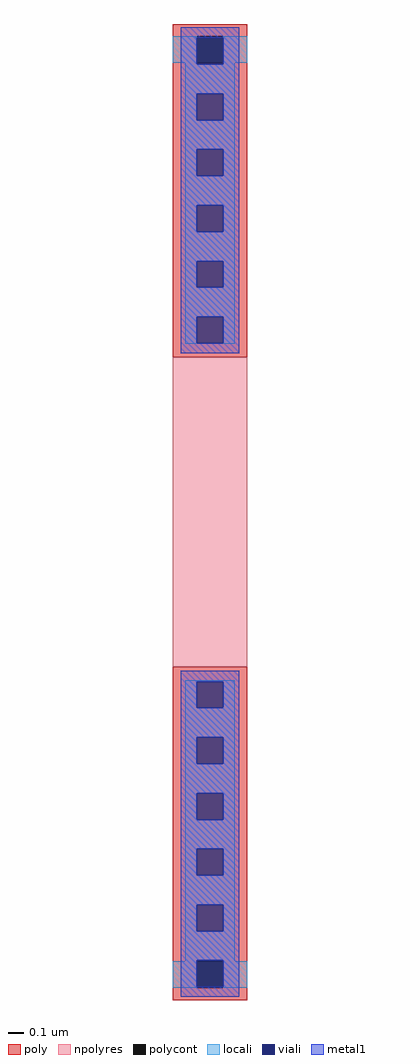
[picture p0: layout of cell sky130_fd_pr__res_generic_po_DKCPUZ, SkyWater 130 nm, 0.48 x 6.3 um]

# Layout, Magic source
magic
tech sky130A
magscale 1 2
<< poly >>
rect -48 614 48 630
rect -48 580 -17 614
rect 17 580 48 614
rect -48 200 48 580
rect -48 -580 48 -200
rect -48 -614 -17 -580
rect 17 -614 48 -580
rect -48 -630 48 -614
<< polycont >>
rect -17 580 17 614
rect -17 -614 17 -580
<< npolyres >>
rect -48 -200 48 200
<< locali >>
rect -48 580 -17 614
rect 17 580 48 614
rect -32 578 -17 580
rect 17 578 32 580
rect -32 540 32 578
rect -32 506 -17 540
rect 17 506 32 540
rect -32 468 32 506
rect -32 434 -17 468
rect 17 434 32 468
rect -32 396 32 434
rect -32 362 -17 396
rect 17 362 32 396
rect -32 324 32 362
rect -32 290 -17 324
rect 17 290 32 324
rect -32 252 32 290
rect -32 218 -17 252
rect 17 218 32 252
rect -32 217 32 218
rect -32 -219 32 -217
rect -32 -253 -17 -219
rect 17 -253 32 -219
rect -32 -291 32 -253
rect -32 -325 -17 -291
rect 17 -325 32 -291
rect -32 -363 32 -325
rect -32 -397 -17 -363
rect 17 -397 32 -363
rect -32 -435 32 -397
rect -32 -469 -17 -435
rect 17 -469 32 -435
rect -32 -507 32 -469
rect -32 -541 -17 -507
rect 17 -541 32 -507
rect -32 -579 32 -541
rect -32 -580 -17 -579
rect 17 -580 32 -579
rect -48 -614 -17 -580
rect 17 -614 48 -580
<< viali >>
rect -17 580 17 612
rect -17 578 17 580
rect -17 506 17 540
rect -17 434 17 468
rect -17 362 17 396
rect -17 290 17 324
rect -17 218 17 252
rect -17 -253 17 -219
rect -17 -325 17 -291
rect -17 -397 17 -363
rect -17 -469 17 -435
rect -17 -541 17 -507
rect -17 -580 17 -579
rect -17 -613 17 -580
<< metal1 >>
rect -38 612 38 626
rect -38 578 -17 612
rect 17 578 38 612
rect -38 540 38 578
rect -38 506 -17 540
rect 17 506 38 540
rect -38 468 38 506
rect -38 434 -17 468
rect 17 434 38 468
rect -38 396 38 434
rect -38 362 -17 396
rect 17 362 38 396
rect -38 324 38 362
rect -38 290 -17 324
rect 17 290 38 324
rect -38 252 38 290
rect -38 218 -17 252
rect 17 218 38 252
rect -38 205 38 218
rect -38 -219 38 -205
rect -38 -253 -17 -219
rect 17 -253 38 -219
rect -38 -291 38 -253
rect -38 -325 -17 -291
rect 17 -325 38 -291
rect -38 -363 38 -325
rect -38 -397 -17 -363
rect 17 -397 38 -363
rect -38 -435 38 -397
rect -38 -469 -17 -435
rect 17 -469 38 -435
rect -38 -507 38 -469
rect -38 -541 -17 -507
rect 17 -541 38 -507
rect -38 -579 38 -541
rect -38 -613 -17 -579
rect 17 -613 38 -579
rect -38 -626 38 -613
<< end >>
